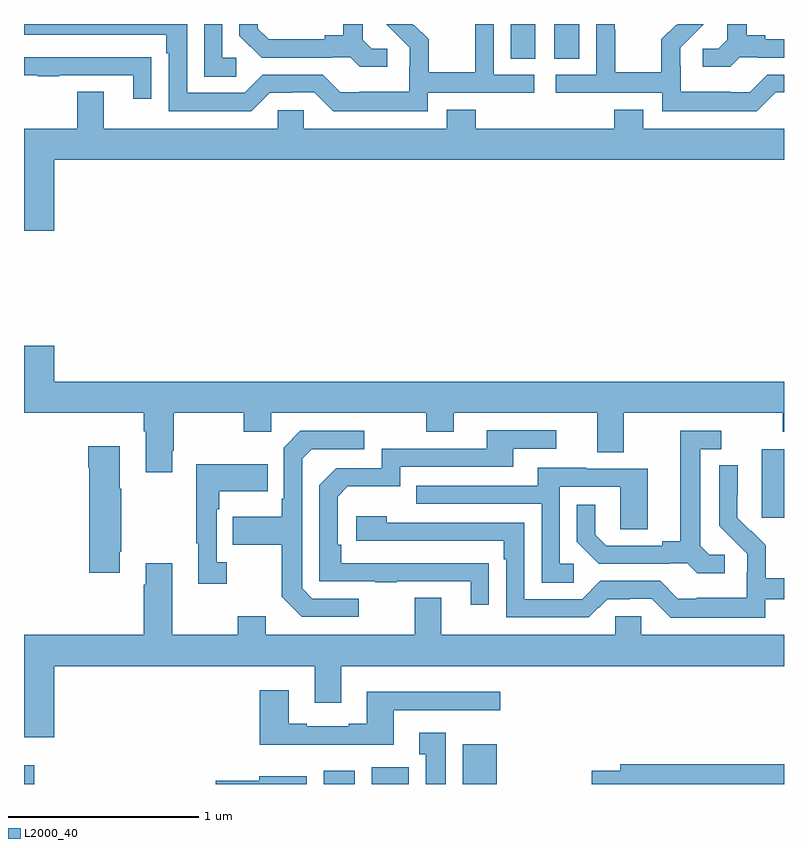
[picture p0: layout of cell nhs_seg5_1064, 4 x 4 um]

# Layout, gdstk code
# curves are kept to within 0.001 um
import gdstk
lib = gdstk.Library(unit=1e-6, precision=1e-09)
def R(c, l, rs):  # rectangles x0, y0, x1, y1
    for r in rs: c.add(gdstk.rectangle(r[:2], r[2:], *l))
def P(c, l, *ps):  # polygons
    for p in ps: c.add(gdstk.Polygon(p, *l))
L2000_40 = (2000, 40)

nhs_seg5_1064 = lib.new_cell('nhs_seg5_1064')
R(nhs_seg5_1064, L2000_40, [(177,862.799,177.055,862.897), (178.577,862.799,178.741,862.87), (178.829,862.799,179.026,862.888), (179.309,862.799,179.488,863.008), (180.884,864.201,181,864.562), (179.561,866.617,179.692,866.799), (179.792,866.617,179.923,866.799)])
P(nhs_seg5_1064, L2000_40, [(179.124,866.436),(179.686,866.436),(179.686,866.532),(179.472,866.532),(179.472,866.799),(179.376,866.799),(179.376,866.768),(179.374,866.768),(179.374,866.545),(179.129,866.545),(179.129,866.719),(179.052,866.796),(179.049,866.793),(179.043,866.799),(178.907,866.799),(179.03,866.674),(179.03,866.577),(179.028,866.577),(179.028,866.443),(178.765,866.443),(178.765,866.439),(178.665,866.439),(178.572,866.532),(178.257,866.532),(178.161,866.436),(177.858,866.436),(177.858,866.799),(177,866.799),(177,866.742),(177.749,866.742),(177.749,866.645),(177.762,866.645),(177.762,866.34),(178.197,866.34),(178.293,866.436),(178.412,866.436),(178.412,866.439),(178.527,866.439),(178.627,866.339),(179.124,866.339)],
  [(178.117,866.622),(178.044,866.622),(178.044,866.799),(177.948,866.799),(177.948,866.521),(178.117,866.521)],
  [(180.768,866.625),(180.862,866.625),(180.862,866.622),(181,866.622),(181,866.718),(180.901,866.718),(180.901,866.741),(180.805,866.741),(180.805,866.799),(180.701,866.799),(180.701,866.717),(180.654,866.67),(180.573,866.67),(180.573,866.573),(180.716,866.573)],
  [(178.912,866.67),(178.83,866.67),(178.783,866.717),(178.783,866.799),(178.679,866.799),(178.679,866.741),(178.583,866.741),(178.583,866.718),(178.288,866.718),(178.231,866.775),(178.231,866.799),(178.134,866.799),(178.134,866.738),(178.25,866.622),(178.622,866.622),(178.622,866.625),(178.716,866.625),(178.768,866.573),(178.912,866.573)],
  [(180.957,866.439),(181,866.439),(181,866.532),(180.912,866.532),(180.819,866.439),(180.719,866.439),(180.719,866.443),(180.456,866.443),(180.456,866.577),(180.454,866.577),(180.454,866.674),(180.577,866.799),(180.441,866.799),(180.435,866.793),(180.432,866.796),(180.355,866.719),(180.355,866.545),(180.111,866.545),(180.111,866.768),(180.108,866.768),(180.108,866.799),(180.012,866.799),(180.012,866.532),(179.799,866.532),(179.799,866.436),(180.36,866.436),(180.36,866.339),(180.857,866.339)],
  [(177.671,866.624),(177.569,866.624),(177.569,866.625),(177,866.625),(177,866.529),(177.073,866.529),(177.073,866.524),(177.185,866.524),(177.185,866.529),(177.575,866.529),(177.575,866.406),(177.671,866.406)],
  [(177.16,866.084),(181,866.084),(181,866.248),(180.259,866.248),(180.259,866.347),(180.107,866.347),(180.107,866.248),(179.378,866.248),(179.378,866.347),(179.225,866.347),(179.225,866.248),(178.473,866.248),(178.473,866.346),(178.335,866.346),(178.335,866.248),(177.421,866.248),(177.421,866.443),(177.281,866.443),(177.281,866.248),(177,866.248),(177,865.71),(177.16,865.71)],
  [(177.781,864.553),(177.789,864.553),(177.789,864.752),(178.156,864.752),(178.156,864.653),(178.302,864.653),(178.302,864.752),(179.116,864.752),(179.116,864.653),(179.263,864.653),(179.263,864.752),(180.017,864.752),(180.017,864.544),(180.157,864.544),(180.157,864.752),(180.994,864.752),(180.994,864.653),(181,864.653),(181,864.916),(177.16,864.916),(177.16,865.105),(177,865.105),(177,864.752),(177.629,864.752),(177.629,864.656),(177.641,864.656),(177.641,864.441),(177.781,864.441)],
  [(179.447,863.96),(178.67,863.961),(178.67,864.058),(178.65,864.058),(178.65,864.312),(178.703,864.365),(178.98,864.365),(178.98,864.468),(179.575,864.468),(179.575,864.564),(179.8,864.564),(179.8,864.66),(179.435,864.66),(179.435,864.564),(178.884,864.564),(178.884,864.462),(178.644,864.462),(178.554,864.372),(178.554,863.865),(178.849,863.865),(178.849,863.86),(178.961,863.86),(178.961,863.865),(179.351,863.865),(179.351,863.742),(179.447,863.742)],
  [(178.762,863.775),(178.518,863.775),(178.464,863.829),(178.464,864.51),(178.515,864.561),(178.792,864.561),(178.792,864.657),(178.455,864.657),(178.368,864.57),(178.368,864.301),(178.356,864.301),(178.356,864.205),(178.099,864.205),(178.099,864.058),(178.356,864.058),(178.356,863.785),(178.461,863.679),(178.762,863.679)],
  [(180.688,864.006),(180.606,864.006),(180.559,864.053),(180.559,864.561),(180.67,864.561),(180.67,864.657),(180.455,864.657),(180.455,864.077),(180.359,864.077),(180.359,864.054),(180.064,864.054),(180.007,864.111),(180.007,864.268),(179.91,864.268),(179.91,864.074),(180.026,863.958),(180.398,863.958),(180.398,863.961),(180.492,863.961),(180.544,863.909),(180.688,863.909)],
  [(177.505,864.022),(177.513,864.022),(177.513,864.353),(177.505,864.353),(177.505,864.577),(177.338,864.577),(177.338,864.464),(177.343,864.464),(177.343,863.91),(177.505,863.91)],
  [(178.066,863.966),(178.014,863.966),(178.014,864.245),(178.027,864.245),(178.027,864.341),(178.283,864.341),(178.283,864.481),(177.906,864.481),(177.906,864.065),(177.917,864.065),(177.917,863.853),(178.066,863.853)],
  [(180.9,863.772),(181,863.772),(181,863.881),(180.905,863.881),(180.905,864.055),(180.828,864.132),(180.825,864.129),(180.755,864.2),(180.756,864.476),(180.66,864.476),(180.66,864.158),(180.806,864.01),(180.806,863.913),(180.804,863.913),(180.804,863.779),(180.541,863.779),(180.541,863.775),(180.441,863.775),(180.348,863.868),(180.033,863.868),(179.937,863.772),(179.634,863.772),(179.634,864.174),(178.91,864.174),(178.91,864.208),(178.749,864.208),(178.749,864.078),(179.525,864.078),(179.525,863.981),(179.538,863.981),(179.538,863.676),(179.973,863.676),(180.069,863.772),(180.188,863.772),(180.188,863.775),(180.303,863.775),(180.403,863.675),(180.9,863.675)],
  [(179.893,863.958),(179.82,863.958),(179.82,864.363),(180.138,864.363),(180.138,864.139),(180.283,864.139),(180.283,864.459),(179.959,864.459),(179.959,864.463),(179.705,864.463),(179.705,864.369),(179.065,864.369),(179.065,864.273),(179.724,864.273),(179.724,863.857),(179.893,863.857)],
  [(181,863.584),(180.249,863.584),(180.249,863.682),(180.111,863.682),(180.111,863.584),(179.197,863.584),(179.197,863.779),(179.057,863.779),(179.057,863.584),(178.273,863.584),(178.273,863.683),(178.126,863.683),(178.126,863.584),(177.781,863.584),(177.781,863.962),(177.641,863.962),(177.641,863.849),(177.629,863.849),(177.629,863.584),(177,863.584),(177,863.046),(177.16,863.046),(177.16,863.42),(178.529,863.42),(178.529,863.226),(178.669,863.226),(178.669,863.42),(181,863.42)],
  [(178.945,863.187),(179.506,863.187),(179.506,863.284),(178.805,863.284),(178.805,863.116),(178.709,863.116),(178.709,863.103),(178.489,863.103),(178.489,863.116),(178.393,863.116),(178.393,863.293),(178.241,863.293),(178.241,863.006),(178.945,863.006)],
  [(179.221,863.068),(179.081,863.068),(179.081,862.955),(179.114,862.955),(179.114,862.799),(179.221,862.799)],
  [(181,862.904),(180.137,862.904),(180.137,862.868),(179.988,862.868),(179.988,862.799),(181,862.799)],
  [(178.489,862.84),(178.238,862.84),(178.238,862.817),(178.008,862.817),(178.008,862.799),(178.489,862.799)])

lib.write_gds('nhs_seg5_1064.gds')
